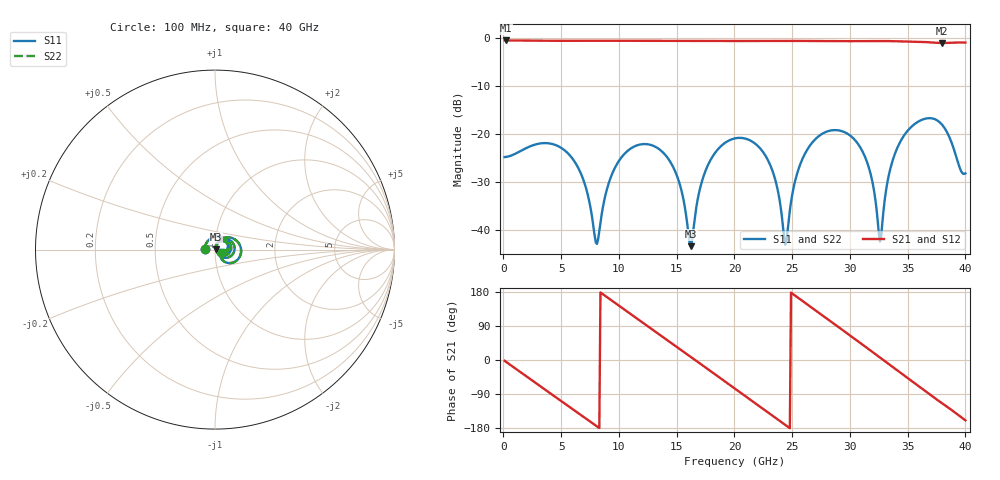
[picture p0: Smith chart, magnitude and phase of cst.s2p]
! T_vna6_cpwg_10: Coplanar waveguide with ground, LibreVNA RF class (w 0.35, gap 0.18 mm), 10 mm
! stackup: LibreVNA 6-layer (7628 / FR-4, from the board file)
! ports: 1 near A, 2 far A
! CST Studio Suite 2025.5 Release from 2025-05-30, time domain (FIT, hexahedral, PBA), 218680 mesh cells, 44 s
! mesh: {'lpw': 20, 'lpb': 20, 'minstep': 0.0, 'ratio': 20}; ports: port 1 (face); port 2 (face)
! interpolated from CST's 1001 samples to the case grid
# Hz S RI R 50
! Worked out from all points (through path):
!   400 points, 100 MHz to 40 GHz, reference 50 ohm
!   highest |S21| = -0.51 dB at 200 MHz (marker M1); lowest = -1.0 dB at 38 GHz (marker M2)
!   group delay of S21, straight-line fit = 61 ps
!   lowest |S11| = -43.4 dB at 16.2 GHz (marker M3), VSWR 1.01, Z = 50.7 + j0.154 ohm
!   |S11| at or under -10 dB: start of sweep to end of sweep
!   |S22| runs from -43.4 to -16.7 dB; largest |S21 - S12| = 5e-07
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1e8  -0.0571 0.00484  0.9419 -0.0358  0.9419 -0.0358  -0.0571 0.00484
2e8  -0.0567 0.00967  0.9399 -0.0716  0.9399 -0.0716  -0.0567 0.00967
3.6e9  0.057 0.0565  0.193 -0.9157  0.193 -0.9157  0.057 0.0565
6.8e9  0.0318 -0.0174  -0.7849 -0.5081  -0.7849 -0.5081  0.0318 -0.0174
8.1e9  0.00635 0.00324  -0.9327 -0.0772  -0.9327 -0.0772  0.00635 0.00324
1e10  0.0262 0.0453  -0.7514 0.5569  -0.7514 0.5569  0.0262 0.0453
1.34e10  0.0696 -0.0113  0.3233 0.8751  0.3233 0.8751  0.0696 -0.0113
1.52e10  0.024 -0.0208  0.8045 0.4751  0.8045 0.4751  0.024 -0.0208
1.62e10  0.00658 0.00152  0.924 0.1413  0.924 0.1413  0.00658 0.00152
1.76e10  0.0178 0.0405  0.8661 -0.3492  0.8661 -0.3492  0.0178 0.0405
2.01e10  0.0858 0.0276  0.2153 -0.9049  0.2153 -0.9049  0.0858 0.0276
2.3e10  0.0388 -0.0321  -0.7155 -0.5971  -0.7155 -0.5971  0.0388 -0.0321
2.44e10  0.00699 0.000531  -0.922 -0.1441  -0.922 -0.1441  0.00699 0.000531
2.53e10  0.0112 0.032  -0.9147 0.1793  -0.9147 0.1793  0.0112 0.032
2.67e10  0.0543 0.059  -0.6896 0.6229  -0.6896 0.6229  0.0543 0.059
3.07e10  0.0642 -0.0455  0.6044 0.7036  0.6044 0.7036  0.0642 -0.0455
3.19e10  0.0196 -0.0273  0.8582 0.3552  0.8582 0.3552  0.0196 -0.0273
3.26e10  0.00757 0.000165  0.9235 0.1082  0.9235 0.1082  0.00757 0.000165
3.34e10  0.0142 0.0358  0.9096 -0.1855  0.9096 -0.1855  0.0142 0.0358
3.59e10  0.1268 0.043  0.3417 -0.8486  0.3417 -0.8486  0.1268 0.043
3.8e10  0.101 -0.0719  -0.3677 -0.8073  -0.3677 -0.8073  0.101 -0.0719
4e10  0.036 -0.0144  -0.8377 -0.3178  -0.8377 -0.3178  0.036 -0.0144
